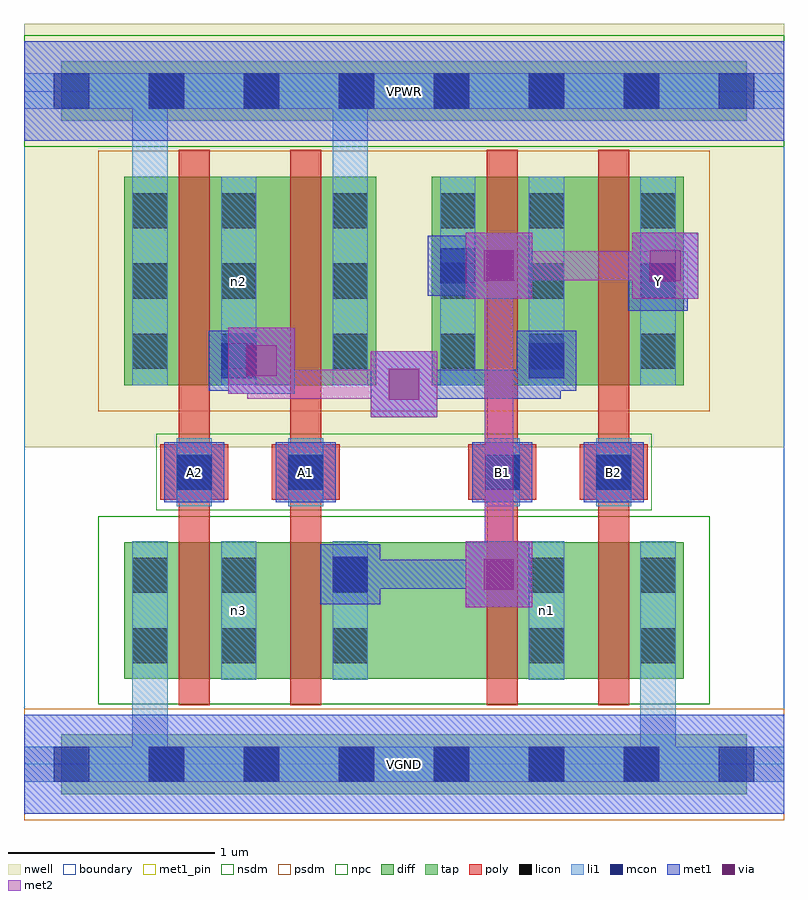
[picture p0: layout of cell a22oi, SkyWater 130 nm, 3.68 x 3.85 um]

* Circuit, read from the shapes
.subckt a22oi A1 A2 B1 B2 VGND VPWR Y n1 n2 n3
XM1 n3 A2 VGND VGND sky130_fd_pr__nfet_01v8 w=0.66 l=0.15
XM2 Y A1 n3 VGND sky130_fd_pr__nfet_01v8 w=0.66 l=0.15
XM3 n1 B1 Y VGND sky130_fd_pr__nfet_01v8 w=0.66 l=0.15
XM4 VGND B2 n1 VGND sky130_fd_pr__nfet_01v8 w=0.66 l=0.15
XM5 n2 A2 VPWR VPWR sky130_fd_pr__pfet_01v8 w=1.01 l=0.15
XM6 VPWR A1 n2 VPWR sky130_fd_pr__pfet_01v8 w=1.01 l=0.15
XM7 n2 B1 Y VPWR sky130_fd_pr__pfet_01v8 w=1.01 l=0.15
XM8 Y B2 n2 VPWR sky130_fd_pr__pfet_01v8 w=1.01 l=0.15
.ends

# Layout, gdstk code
import gdstk
lib = gdstk.Library(unit=1e-6, precision=1e-09)
def R(c, l, rs):  # rectangles x0, y0, x1, y1
    for r in rs: c.add(gdstk.rectangle(r[:2], r[2:], *l))
def A(c, l, x, y, w, h, nx, ny, dx, dy):  # array of equal rectangles
    R(c, l, [(x+i*dx, y+j*dy, x+i*dx+w, y+j*dy+h) for i in range(nx) for j in range(ny)])
nwell = (64, 20)
diff = (65, 20)
tap = (65, 44)
poly = (66, 20)
licon = (66, 44)
li1 = (67, 20)
mcon = (67, 44)
met1_pin = (68, 16)
met1 = (68, 20)
via = (68, 44)
met2 = (69, 20)
nsdm = (93, 44)
psdm = (94, 20)
npc = (95, 20)
boundary = (235, 4)

a22oi = lib.new_cell('a22oi')
R(a22oi, nwell, [(0,1.535,3.68,3.585)])
R(a22oi, diff, [(0.485,0.415,3.195,1.075), (0.485,1.835,1.705,2.845), (1.975,1.835,3.195,2.845)])
R(a22oi, tap, [(0.18,-0.145,3.5,0.145), (0.18,3.115,3.5,3.405)])
R(a22oi, poly, [(0.75,0.285,0.9,2.975), (1.29,0.285,1.44,2.975), (2.24,0.285,2.39,2.975), (2.78,0.285,2.93,2.975), (0.66,1.28,0.99,1.55), (1.2,1.28,1.53,1.55), (2.15,1.28,2.48,1.55), (2.69,1.28,3.02,1.55)])
A(a22oi, licon, 0.605, -0.085, 0.17, 0.17, 6, 2, 0.46, 3.26)
A(a22oi, licon, 0.525, 1.915, 0.17, 0.17, 1, 3, 0, 0.34)
A(a22oi, licon, 0.955, 1.915, 0.17, 0.17, 1, 3, 0, 0.34)
A(a22oi, licon, 1.495, 1.915, 0.17, 0.17, 1, 3, 0, 0.34)
A(a22oi, licon, 2.015, 1.915, 0.17, 0.17, 1, 3, 0, 0.34)
A(a22oi, licon, 2.445, 1.915, 0.17, 0.17, 1, 3, 0, 0.34)
A(a22oi, licon, 2.985, 1.915, 0.17, 0.17, 1, 3, 0, 0.34)
R(a22oi, licon, [(0.525,0.49,0.695,0.66), (0.955,0.49,1.125,0.66), (1.495,0.49,1.665,0.66), (2.445,0.49,2.615,0.66), (2.985,0.49,3.155,0.66), (0.525,0.83,0.695,1), (0.955,0.83,1.125,1), (1.495,0.83,1.665,1), (2.445,0.83,2.615,1), (2.985,0.83,3.155,1), (0.74,1.33,0.91,1.5), (1.28,1.33,1.45,1.5), (2.23,1.33,2.4,1.5), (2.77,1.33,2.94,1.5)])
R(a22oi, li1, [(0,-0.085,3.68,0.085), (0.525,-0.085,0.695,1.08), (2.985,-0.085,3.155,1.08), (0.525,0.41,0.695,1.08), (0.955,0.41,1.125,1.08), (1.495,0.41,1.665,1.08), (2.445,0.41,2.615,1.08), (2.985,0.41,3.155,1.08), (0.74,1.25,0.91,1.58), (1.28,1.25,1.45,1.58), (2.23,1.25,2.4,1.58), (2.77,1.25,2.94,1.58), (0.525,1.835,0.695,2.845), (0.525,1.835,0.695,3.345), (0.955,1.835,1.125,2.845), (1.495,1.835,1.665,2.845), (1.495,1.835,1.665,3.345), (2.015,1.835,2.185,2.845), (2.445,1.835,2.615,2.845), (2.985,1.835,3.155,2.845), (0,3.175,3.68,3.345)])
A(a22oi, mcon, 0.145, -0.085, 0.17, 0.17, 8, 2, 0.46, 3.26)
R(a22oi, mcon, [(1.495,0.835,1.665,1.005), (0.74,1.33,0.91,1.5), (1.28,1.33,1.45,1.5), (2.23,1.33,2.4,1.5), (2.77,1.33,2.94,1.5), (0.955,1.87,1.125,2.04), (2.445,1.87,2.615,2.04), (2.985,2.255,3.155,2.425), (2.015,2.33,2.185,2.5)])
R(a22oi, met1_pin, [(0,-0.24,3.68,0.24), (0.68,1.27,0.97,1.56), (1.22,1.27,1.51,1.56), (2.17,1.27,2.46,1.56), (2.71,1.27,3,1.56), (2.925,2.195,3.215,2.485), (0,3.02,3.68,3.5)])
R(a22oi, met1, [(0,-0.24,3.68,0.24), (2.14,0.76,2.46,1.08), (1.435,0.775,1.725,1.065), (1.51,0.85,1.795,0.99), (1.655,0.85,2.37,0.99), (0.68,1.27,0.97,1.56), (1.22,1.27,1.51,1.56), (2.17,1.27,2.46,1.56), (2.71,1.27,3,1.56), (1.68,1.68,2,2), (1.77,1.77,2.6,1.91), (2.46,1.77,2.6,2.025), (0.99,1.795,1.31,2.115), (0.895,1.81,1.185,2.1), (2.385,1.81,2.675,2.1), (0.97,1.885,1.22,2.025), (2.925,2.195,3.215,2.485), (2.14,2.255,2.46,2.575), (2.945,2.255,3.265,2.575), (1.955,2.27,2.245,2.56), (2.03,2.345,2.37,2.485), (3.035,2.345,3.175,2.485), (0,3.02,3.68,3.5)])
R(a22oi, via, [(2.225,0.845,2.375,0.995), (1.765,1.765,1.915,1.915), (1.075,1.88,1.225,2.03), (2.225,2.34,2.375,2.49), (3.03,2.34,3.18,2.49)])
R(a22oi, met2, [(2.14,0.76,2.46,1.08), (2.23,0.85,2.37,2.485), (1.68,1.68,2,2), (1.08,1.77,1.91,1.91), (1.08,1.77,1.22,2.025), (0.99,1.795,1.31,2.115), (2.14,2.255,2.46,2.575), (2.945,2.255,3.265,2.575), (2.23,2.345,3.175,2.485)])
R(a22oi, nsdm, [(0.36,0.29,3.32,1.2), (0,2.99,3.68,3.53)])
R(a22oi, psdm, [(0,-0.27,3.68,0.27), (0.36,1.71,3.32,2.97)])
R(a22oi, npc, [(0.64,1.23,3.04,1.6)])
R(a22oi, boundary, [(0,0,3.68,3.26)])
a22oi.add(gdstk.Label('n3', (1.04,0.745), layer=67, texttype=5))
a22oi.add(gdstk.Label('n1', (2.53,0.745), layer=67, texttype=5))
a22oi.add(gdstk.Label('n2', (1.04,2.34), layer=67, texttype=5))
a22oi.add(gdstk.Label('A1', (1.365,1.415), layer=68, texttype=5))
a22oi.add(gdstk.Label('A2', (0.825,1.415), layer=68, texttype=5))
a22oi.add(gdstk.Label('B1', (2.315,1.415), layer=68, texttype=5))
a22oi.add(gdstk.Label('B2', (2.855,1.415), layer=68, texttype=5))
a22oi.add(gdstk.Label('Y', (3.07,2.34), layer=68, texttype=5))
a22oi.add(gdstk.Label('VPWR', (1.84,3.26), layer=68, texttype=5))
a22oi.add(gdstk.Label('VGND', (1.84,0), layer=68, texttype=5))
a22oi.add(gdstk.Label('A1', (1.365,1.415), layer=68, texttype=16))
a22oi.add(gdstk.Label('A2', (0.825,1.415), layer=68, texttype=16))
a22oi.add(gdstk.Label('B1', (2.315,1.415), layer=68, texttype=16))
a22oi.add(gdstk.Label('B2', (2.855,1.415), layer=68, texttype=16))
a22oi.add(gdstk.Label('Y', (3.07,2.34), layer=68, texttype=16))
a22oi.add(gdstk.Label('VPWR', (1.84,3.26), layer=68, texttype=16))
a22oi.add(gdstk.Label('VGND', (1.84,0), layer=68, texttype=16))

lib.write_gds('a22oi.gds')
